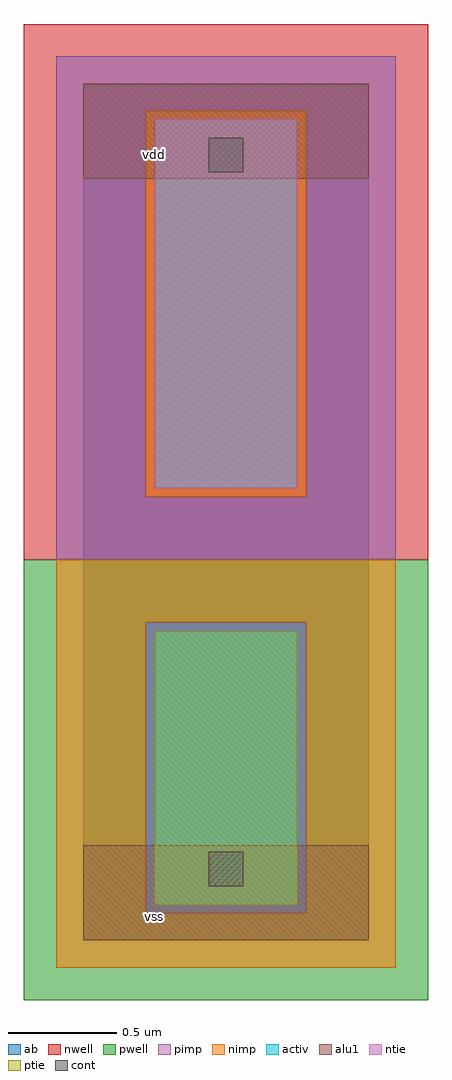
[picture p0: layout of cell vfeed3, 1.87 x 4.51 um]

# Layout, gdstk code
import gdstk
lib = gdstk.Library(unit=1e-6, precision=2.5e-09)
def R(c, l, rs):  # rectangles x0, y0, x1, y1
    for r in rs: c.add(gdstk.rectangle(r[:2], r[2:], *l))
ntie = (5, 0)
ptie = (6, 0)
cont = (25, 0)
pwell = (41, 0)
nwell = (42, 0)
activ = (43, 0)
pimp = (44, 0)
nimp = (45, 0)
alu1 = (49, 0)
ab = (63, 0)

vfeed3 = lib.new_cell('vfeed3')
R(vfeed3, ntie, [(0.33,2.09,0.99,3.795)])
R(vfeed3, ptie, [(0.33,0.165,0.99,1.43)])
R(vfeed3, cont, [(0.58,0.25,0.74,0.41), (0.58,3.55,0.74,3.71)])
R(vfeed3, pwell, [(-0.275,-0.275,1.595,1.76)])
R(vfeed3, nwell, [(-0.275,1.76,1.595,4.235)])
R(vfeed3, activ, [(0.33,0.165,0.99,1.43), (0.33,2.09,0.99,3.795)])
R(vfeed3, pimp, [(0.29,0.125,1.03,1.47), (-0.125,1.76,1.445,2.05), (-0.125,2.05,0.29,3.835), (1.03,2.05,1.445,3.835), (-0.125,3.835,1.445,4.085)])
R(vfeed3, nimp, [(-0.125,-0.125,1.445,0.125), (-0.125,0.125,0.29,1.47), (1.03,0.125,1.445,1.47), (-0.125,1.47,1.445,1.76), (0.29,2.05,1.03,3.835)])
R(vfeed3, alu1, [(0,0,1.32,0.44), (0,3.52,1.32,3.96)])
R(vfeed3, ab, [(0,0,1.32,3.96)])
vfeed3.add(gdstk.Label('vss', (0.33,0.11), layer=49, texttype=0))
vfeed3.add(gdstk.Label('vdd', (0.33,3.63), layer=49, texttype=0))

lib.write_gds('vfeed3.gds')
